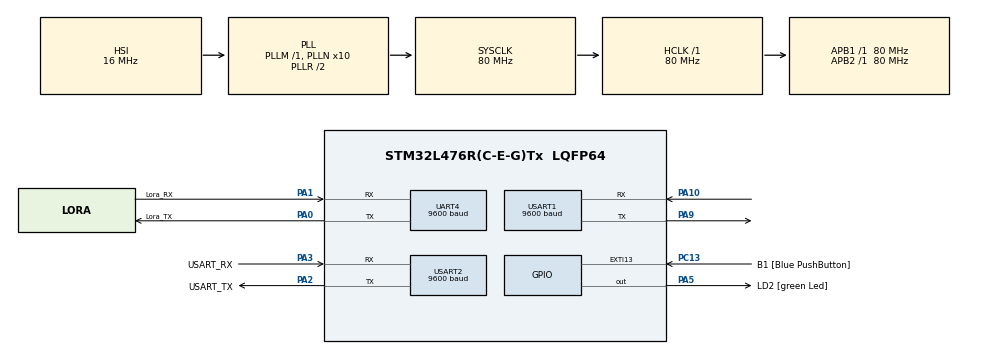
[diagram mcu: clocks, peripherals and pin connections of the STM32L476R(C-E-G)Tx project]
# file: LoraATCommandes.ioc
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Dma.Request0=USART2_RX
Dma.Request1=UART4_RX
Dma.Request2=USART1_RX
Dma.UART4_RX.1.Direction=DMA_PERIPH_TO_MEMORY
Dma.UART4_RX.1.Instance=DMA2_Channel5
Dma.UART4_RX.1.MemDataAlignment=DMA_MDATAALIGN_BYTE
Dma.UART4_RX.1.MemInc=DMA_MINC_ENABLE
Dma.UART4_RX.1.Mode=DMA_NORMAL
Dma.UART4_RX.1.PeriphDataAlignment=DMA_PDATAALIGN_BYTE
Dma.UART4_RX.1.PeriphInc=DMA_PINC_DISABLE
Dma.UART4_RX.1.Priority=DMA_PRIORITY_LOW
Dma.USART1_RX.2.Direction=DMA_PERIPH_TO_MEMORY
Dma.USART1_RX.2.Instance=DMA1_Channel5
Dma.USART1_RX.2.MemDataAlignment=DMA_MDATAALIGN_BYTE
Dma.USART1_RX.2.MemInc=DMA_MINC_ENABLE
Dma.USART1_RX.2.Mode=DMA_NORMAL
Dma.USART1_RX.2.PeriphDataAlignment=DMA_PDATAALIGN_BYTE
Dma.USART1_RX.2.PeriphInc=DMA_PINC_DISABLE
Dma.USART1_RX.2.Priority=DMA_PRIORITY_LOW
Dma.USART2_RX.0.Direction=DMA_PERIPH_TO_MEMORY
Dma.USART2_RX.0.Instance=DMA1_Channel6
Dma.USART2_RX.0.MemDataAlignment=DMA_MDATAALIGN_BYTE
Dma.USART2_RX.0.MemInc=DMA_MINC_ENABLE
Dma.USART2_RX.0.Mode=DMA_NORMAL
Dma.USART2_RX.0.PeriphDataAlignment=DMA_PDATAALIGN_BYTE
Dma.USART2_RX.0.PeriphInc=DMA_PINC_DISABLE
Dma.USART2_RX.0.Priority=DMA_PRIORITY_LOW
Mcu.Family=STM32L4
Mcu.Name=STM32L476R(C-E-G)Tx
Mcu.Package=LQFP64
NVIC.DMA1_Channel5_IRQn=true\:0\:0\:false\:false\:true\:false\:true\:true
NVIC.DMA1_Channel6_IRQn=true\:0\:0\:false\:false\:true\:false\:true\:true
NVIC.DMA2_Channel5_IRQn=true\:0\:0\:false\:false\:true\:false\:true\:true
NVIC.PriorityGroup=NVIC_PRIORITYGROUP_4
NVIC.UART4_IRQn=true\:0\:0\:false\:false\:true\:true\:true\:true
NVIC.USART1_IRQn=true\:0\:0\:false\:false\:true\:true\:true\:true
NVIC.USART2_IRQn=true\:0\:0\:false\:false\:true\:true\:true\:true
PA0.GPIO_Label=Lora_TX
PA0.Mode=Asynchronous
PA0.Signal=UART4_TX
PA1.GPIO_Label=Lora_RX
PA1.Mode=Asynchronous
PA1.Signal=UART4_RX
PA10.Mode=Asynchronous
PA10.Signal=USART1_RX
PA13\ (JTMS-SWDIO).GPIO_Label=TMS
PA13\ (JTMS-SWDIO).Mode=Serial_Wire
PA13\ (JTMS-SWDIO).Signal=SYS_JTMS-SWDIO
PA14\ (JTCK-SWCLK).GPIO_Label=TCK
PA14\ (JTCK-SWCLK).Mode=Serial_Wire
PA14\ (JTCK-SWCLK).Signal=SYS_JTCK-SWCLK
PA2.GPIO_Label=USART_TX
PA2.GPIO_Mode=GPIO_MODE_AF_PP
PA2.GPIO_PuPd=GPIO_NOPULL
PA2.GPIO_Speed=GPIO_SPEED_FREQ_VERY_HIGH
PA2.Mode=Asynchronous
PA2.Signal=USART2_TX
PA3.GPIO_Label=USART_RX
PA3.GPIO_Mode=GPIO_MODE_AF_PP
PA3.GPIO_PuPd=GPIO_NOPULL
PA3.GPIO_Speed=GPIO_SPEED_FREQ_VERY_HIGH
PA3.Mode=Asynchronous
PA3.Signal=USART2_RX
PA5.GPIO_Label=LD2 [green Led]
PA5.GPIO_ModeDefaultOutputPP=GPIO_MODE_OUTPUT_PP
PA5.GPIO_PuPd=GPIO_NOPULL
PA5.GPIO_Speed=GPIO_SPEED_FREQ_LOW
PA5.Signal=GPIO_Output
PA9.Mode=Asynchronous
PA9.Signal=USART1_TX
PB3\ (JTDO-TRACESWO).GPIO_Label=SWO
PB3\ (JTDO-TRACESWO).Signal=SYS_JTDO-SWO
PC13.GPIO_Label=B1 [Blue PushButton]
PC13.GPIO_ModeDefaultEXTI=GPIO_MODE_IT_FALLING
PC13.GPIO_PuPd=GPIO_NOPULL
PC13.Signal=GPXTI13
PC14-OSC32_IN\ (PC14).Mode=LSE-External-Oscillator
PC14-OSC32_IN\ (PC14).Signal=RCC_OSC32_IN
PC15-OSC32_OUT\ (PC15).Mode=LSE-External-Oscillator
PC15-OSC32_OUT\ (PC15).Signal=RCC_OSC32_OUT
PH0-OSC_IN\ (PH0).Signal=RCC_OSC_IN
PH1-OSC_OUT\ (PH1).Signal=RCC_OSC_OUT
ProjectManager.HeapSize=0x200
ProjectManager.StackSize=0x400
ProjectManager.TargetToolchain=STM32CubeIDE
RCC.ADCFreq_Value=64000000
RCC.AHBFreq_Value=80000000
RCC.APB1Freq_Value=80000000
RCC.APB1TimFreq_Value=80000000
RCC.APB2Freq_Value=80000000
RCC.APB2TimFreq_Value=80000000
RCC.CortexFreq_Value=80000000
RCC.HCLKFreq_Value=80000000
RCC.HSE_VALUE=8000000
RCC.HSI_VALUE=16000000
RCC.MSI_VALUE=4000000
RCC.PLLN=10
RCC.PLLSourceVirtual=RCC_PLLSOURCE_HSI
RCC.PREFETCH_ENABLE=1
RCC.SYSCLKFreq_VALUE=80000000
RCC.SYSCLKSource=RCC_SYSCLKSOURCE_PLLCLK
RCC.USBFreq_Value=64000000
RCC.VCOOutputFreq_Value=160000000
UART4.BaudRate=9600
UART4.SwapParam=UART_ADVFEATURE_SWAP_ENABLE
USART1.BaudRate=9600
USART1.VirtualMode-Asynchronous=VM_ASYNC
USART2.BaudRate=9600
USART2.VirtualMode-Asynchronous=VM_ASYNC
board=NUCLEO-L476RG

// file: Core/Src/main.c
/* USER CODE BEGIN Header */
/**
  ******************************************************************************
  * @file           : main.c
  * @brief          : Main program body
  ******************************************************************************
  * @attention
  *
  * Copyright (c) 2024 STMicroelectronics.
  * All rights reserved.
  *
  * This software is licensed under terms that can be found in the LICENSE file
  * in the root directory of this software component.
  * If no LICENSE file comes with this software, it is provided AS-IS.
  *
  ******************************************************************************
  */
/* USER CODE END Header */
#include "main.h"

/* USER CODE BEGIN Includes */
#include <string.h>
/* USER CODE END Includes */

UART_HandleTypeDef huart4;
UART_HandleTypeDef huart1;
UART_HandleTypeDef huart2;
DMA_HandleTypeDef hdma_uart4_rx;
DMA_HandleTypeDef hdma_usart1_rx;
DMA_HandleTypeDef hdma_usart2_rx;

/* USER CODE BEGIN PV */

char reception[100]={0};
char reception_lora[100]={0};
char commande[100]="AT+MODE=TEST\r\n";
char commande_bis[50]="AT+TEST=RFCFG,866,SF12,125,12,15,14,ON,OFF,OFF\r\n";
char commande_ter[50]="AT+TEST=RXLRPKT\r\n";

UART_HandleTypeDef *lora = &huart1;
UART_HandleTypeDef *serial = &huart2;

/* USER CODE END PV */

void SystemClock_Config(void);
static void MX_GPIO_Init(void);
static void MX_DMA_Init(void);
static void MX_USART2_UART_Init(void);
static void MX_UART4_Init(void);
static void MX_USART1_UART_Init(void);

/* USER CODE BEGIN 0 */
#define RX_BUFF_SIZE 200
#define MAIN_BUFF_SIZE 200

uint8_t rcvbff[RX_BUFF_SIZE];
uint8_t mainbff[MAIN_BUFF_SIZE];

void HAL_UARTEx_RxEventCallback(UART_HandleTypeDef *huart, uint16_t Size)
{
	if(huart == serial)  //huart->Instance == USART2
	{
		memcpy(mainbff, rcvbff, Size);
		uint8_t tmpbff[strlen(rcvbff)+1];
					tmpbff[0]='>';
					memcpy(&tmpbff[1], rcvbff, strlen(rcvbff));

					HAL_UART_Transmit(serial,(uint8_t*)tmpbff,strlen(rcvbff)+1,10);

		HAL_UART_Transmit(lora,(uint8_t*)rcvbff,strlen(rcvbff),10);

		for(int i=0; i<RX_BUFF_SIZE; i++)
			rcvbff[i] = 0x00;
		rcvbff[0] = '\0';

		HAL_UARTEx_ReceiveToIdle_DMA(serial, rcvbff, RX_BUFF_SIZE);
		__HAL_DMA_DISABLE_IT(&hdma_usart2_rx, DMA_IT_HT);
	}
	if(huart == lora)  //huart->Instance == USART2
		{
			memcpy(mainbff, rcvbff, Size);

			HAL_UART_Transmit(serial,(uint8_t*)rcvbff,strlen(rcvbff),10);

			if(strcmp(rcvbff, "+MSG: Done\r\n")==0)
				HAL_UART_Transmit(serial,(uint8_t*)"Valid data\n",11,10);

			for(int i=0; i<RX_BUFF_SIZE; i++)
				rcvbff[i] = 0x00;
			rcvbff[0] = '\0';

			HAL_UARTEx_ReceiveToIdle_DMA(lora, rcvbff, RX_BUFF_SIZE);
			__HAL_DMA_DISABLE_IT(&hdma_uart4_rx, DMA_IT_HT);
		}
}
/* USER CODE END 0 */

int main(void)
{

  /* MCU Configuration--------------------------------------------------------*/

  /* Reset of all peripherals, Initializes the Flash interface and the Systick. */
  HAL_Init();

  /* Configure the system clock */
  SystemClock_Config();

  /* Initialize all configured peripherals */
  MX_GPIO_Init();
  MX_DMA_Init();
  MX_USART2_UART_Init();
  MX_UART4_Init();
  MX_USART1_UART_Init();
  /* USER CODE BEGIN 2 */

  //HAL_UART_Receive_IT(&huart2,(uint8_t *) rcvbff, sizeof(rcvbff));
  //HAL_UART_Receive_DMA (&huart2, rcvbff, 150);
  HAL_UART_Transmit(serial, (uint8_t *)"UART2 INIT\n" , 11, 10);

  char automode[55] = {0xFF,0xFF};
   strcpy(&automode[2],"AT+LOWPOWER=AUTOOFF\n\f");
  //HAL_UART_Transmit(lora, (uint8_t *)automode , strlen(automode), 60);
  char message[55] = "rcv\n";
  //uint8_t premessage[55] = "AT+MSG\r\n";

  HAL_GPIO_WritePin(LD2_GPIO_Port, LD2_Pin, SET);
  HAL_Delay(100);
  HAL_GPIO_TogglePin(LD2_GPIO_Port, LD2_Pin);
/*
  HAL_UART_Transmit(&huart4,message , 7, 10);
  HAL_Delay(1000);

  uint8_t message2[55] = "AT+MSG\r\n";
  HAL_UART_Transmit(&huart4,message2 , 7, 10);
  HAL_Delay(1000);*/
  //HAL_UART_Receive_DMA (serial, (uint8_t*)reception, 100);
  //HAL_UART_Receive_IT(&huart2, rcvbff, 150);

  HAL_UARTEx_ReceiveToIdle_DMA(serial, rcvbff, RX_BUFF_SIZE);
  __HAL_DMA_DISABLE_IT(&hdma_usart2_rx, DMA_IT_HT);

  HAL_UARTEx_ReceiveToIdle_DMA(lora, rcvbff, RX_BUFF_SIZE);
  __HAL_DMA_DISABLE_IT(&hdma_uart4_rx, DMA_IT_HT);
  /* USER CODE END 2 */

  /* Infinite loop */
  while (1)
  {

    /* USER CODE BEGIN 3 */

	  /*if(__HAL_UART_GET_FLAG(lora,UART_FLAG_RXNE)==SET)
	  {
		  //HAL_UART_DMAStop(serial);
		  for(int i=0; i<10; i++)
		  {

			  HAL_GPIO_WritePin(LD2_GPIO_Port, LD2_Pin, SET);
			  HAL_Delay(10);
			  HAL_GPIO_WritePin(LD2_GPIO_Port, LD2_Pin, RESET);
			  HAL_Delay(10);
		  }
		  HAL_UART_Receive_DMA(lora, (uint8_t*)reception_lora, 100);
	  			HAL_UART_DMAStop(lora);

	  			HAL_UART_Transmit(serial,(uint8_t*)reception_lora,strlen(reception_lora),500);

	  			HAL_UART_Receive_DMA(lora, (uint8_t*)reception_lora, 100);
	  			if(strcmp(reception_lora, "AA\n")==0)
	  				  HAL_UART_Transmit(serial,(uint8_t*)message,4,1000);
	  			for(int i=0; i<150; i++)
	  				reception_lora[i] = 0x00;
	  			reception_lora[0] = '\0';
	  		  HAL_GPIO_TogglePin(LD2_GPIO_Port, LD2_Pin);*/
	  //}

	  /*if(__HAL_UART_GET_FLAG(serial,UART_FLAG_RXNE)==SET){
		  HAL_Delay(200);
		  HAL_UART_DMAStop(serial);
		  reception[strlen(reception)-1] = '\r';
		  reception[strlen(reception)] = '\n';

//		  strcat(reception, "\r\n");
		  HAL_UART_Transmit(lora,(uint8_t*) reception,strlen(reception),500);

		  HAL_UART_Transmit(serial,(uint8_t*)reception,strlen(reception),500);
			HAL_GPIO_TogglePin(LD2_GPIO_Port, LD2_Pin);
			//HAL_Delay(100);
			HAL_GPIO_TogglePin(LD2_GPIO_Port, LD2_Pin);

			for(int i=0; i<150; i++)
				reception[i] = 0x00;
			reception[0] = '\0';

			HAL_UART_Receive_DMA(serial, (uint8_t*)reception, 100);
	  }*/

  }
  /* USER CODE END 3 */
}

void SystemClock_Config(void)
{
  RCC_OscInitTypeDef RCC_OscInitStruct = {0};
  RCC_ClkInitTypeDef RCC_ClkInitStruct = {0};

  /** Configure the main internal regulator output voltage
  */
  if (HAL_PWREx_ControlVoltageScaling(PWR_REGULATOR_VOLTAGE_SCALE1) != HAL_OK)
  {
    Error_Handler();
  }

  /** Initializes the RCC Oscillators according to the specified parameters
  * in the RCC_OscInitTypeDef structure.
  */
  RCC_OscInitStruct.OscillatorType = RCC_OSCILLATORTYPE_HSI;
  RCC_OscInitStruct.HSIState = RCC_HSI_ON;
  RCC_OscInitStruct.HSICalibrationValue = RCC_HSICALIBRATION_DEFAULT;
  RCC_OscInitStruct.PLL.PLLState = RCC_PLL_ON;
  RCC_OscInitStruct.PLL.PLLSource = RCC_PLLSOURCE_HSI;
  RCC_OscInitStruct.PLL.PLLM = 1;
  RCC_OscInitStruct.PLL.PLLN = 10;
  RCC_OscInitStruct.PLL.PLLP = RCC_PLLP_DIV7;
  RCC_OscInitStruct.PLL.PLLQ = RCC_PLLQ_DIV2;
  RCC_OscInitStruct.PLL.PLLR = RCC_PLLR_DIV2;
  if (HAL_RCC_OscConfig(&RCC_OscInitStruct) != HAL_OK)
  {
    Error_Handler();
  }

  /** Initializes the CPU, AHB and APB buses clocks
  */
  RCC_ClkInitStruct.ClockType = RCC_CLOCKTYPE_HCLK|RCC_CLOCKTYPE_SYSCLK
                              |RCC_CLOCKTYPE_PCLK1|RCC_CLOCKTYPE_PCLK2;
  RCC_ClkInitStruct.SYSCLKSource = RCC_SYSCLKSOURCE_PLLCLK;
  RCC_ClkInitStruct.AHBCLKDivider = RCC_SYSCLK_DIV1;
  RCC_ClkInitStruct.APB1CLKDivider = RCC_HCLK_DIV1;
  RCC_ClkInitStruct.APB2CLKDivider = RCC_HCLK_DIV1;

  if (HAL_RCC_ClockConfig(&RCC_ClkInitStruct, FLASH_LATENCY_4) != HAL_OK)
  {
    Error_Handler();
  }
}

static void MX_UART4_Init(void)
{

  huart4.Instance = UART4;
  huart4.Init.BaudRate = 9600;
  huart4.Init.WordLength = UART_WORDLENGTH_8B;
  huart4.Init.StopBits = UART_STOPBITS_1;
  huart4.Init.Parity = UART_PARITY_NONE;
  huart4.Init.Mode = UART_MODE_TX_RX;
  huart4.Init.HwFlowCtl = UART_HWCONTROL_NONE;
  huart4.Init.OverSampling = UART_OVERSAMPLING_16;
  huart4.Init.OneBitSampling = UART_ONE_BIT_SAMPLE_DISABLE;
  huart4.AdvancedInit.AdvFeatureInit = UART_ADVFEATURE_SWAP_INIT;
  huart4.AdvancedInit.Swap = UART_ADVFEATURE_SWAP_ENABLE;
  if (HAL_UART_Init(&huart4) != HAL_OK)
  {
    Error_Handler();
  }

}

static void MX_USART1_UART_Init(void)
{

  huart1.Instance = USART1;
  huart1.Init.BaudRate = 9600;
  huart1.Init.WordLength = UART_WORDLENGTH_8B;
  huart1.Init.StopBits = UART_STOPBITS_1;
  huart1.Init.Parity = UART_PARITY_NONE;
  huart1.Init.Mode = UART_MODE_TX_RX;
  huart1.Init.HwFlowCtl = UART_HWCONTROL_NONE;
  huart1.Init.OverSampling = UART_OVERSAMPLING_16;
  huart1.Init.OneBitSampling = UART_ONE_BIT_SAMPLE_DISABLE;
  huart1.AdvancedInit.AdvFeatureInit = UART_ADVFEATURE_NO_INIT;
  if (HAL_UART_Init(&huart1) != HAL_OK)
  {
    Error_Handler();
  }

}

static void MX_USART2_UART_Init(void)
{

  huart2.Instance = USART2;
  huart2.Init.BaudRate = 9600;
  huart2.Init.WordLength = UART_WORDLENGTH_8B;
  huart2.Init.StopBits = UART_STOPBITS_1;
  huart2.Init.Parity = UART_PARITY_NONE;
  huart2.Init.Mode = UART_MODE_TX_RX;
  huart2.Init.HwFlowCtl = UART_HWCONTROL_NONE;
  huart2.Init.OverSampling = UART_OVERSAMPLING_16;
  huart2.Init.OneBitSampling = UART_ONE_BIT_SAMPLE_DISABLE;
  huart2.AdvancedInit.AdvFeatureInit = UART_ADVFEATURE_NO_INIT;
  if (HAL_UART_Init(&huart2) != HAL_OK)
  {
    Error_Handler();
  }

}

static void MX_DMA_Init(void)
{

  /* DMA controller clock enable */
  __HAL_RCC_DMA1_CLK_ENABLE();
  __HAL_RCC_DMA2_CLK_ENABLE();

  /* DMA interrupt init */
  /* DMA1_Channel5_IRQn interrupt configuration */
  HAL_NVIC_SetPriority(DMA1_Channel5_IRQn, 0, 0);
  HAL_NVIC_EnableIRQ(DMA1_Channel5_IRQn);
  /* DMA1_Channel6_IRQn interrupt configuration */
  HAL_NVIC_SetPriority(DMA1_Channel6_IRQn, 0, 0);
  HAL_NVIC_EnableIRQ(DMA1_Channel6_IRQn);
  /* DMA2_Channel5_IRQn interrupt configuration */
  HAL_NVIC_SetPriority(DMA2_Channel5_IRQn, 0, 0);
  HAL_NVIC_EnableIRQ(DMA2_Channel5_IRQn);

}

static void MX_GPIO_Init(void)
{
  GPIO_InitTypeDef GPIO_InitStruct = {0};

  /* GPIO Ports Clock Enable */
  __HAL_RCC_GPIOC_CLK_ENABLE();
  __HAL_RCC_GPIOH_CLK_ENABLE();
  __HAL_RCC_GPIOA_CLK_ENABLE();
  __HAL_RCC_GPIOB_CLK_ENABLE();

  /*Configure GPIO pin Output Level */
  HAL_GPIO_WritePin(LD2_GPIO_Port, LD2_Pin, GPIO_PIN_RESET);

  /*Configure GPIO pin : B1_Pin */
  GPIO_InitStruct.Pin = B1_Pin;
  GPIO_InitStruct.Mode = GPIO_MODE_IT_FALLING;
  GPIO_InitStruct.Pull = GPIO_NOPULL;
  HAL_GPIO_Init(B1_GPIO_Port, &GPIO_InitStruct);

  /*Configure GPIO pin : LD2_Pin */
  GPIO_InitStruct.Pin = LD2_Pin;
  GPIO_InitStruct.Mode = GPIO_MODE_OUTPUT_PP;
  GPIO_InitStruct.Pull = GPIO_NOPULL;
  GPIO_InitStruct.Speed = GPIO_SPEED_FREQ_LOW;
  HAL_GPIO_Init(LD2_GPIO_Port, &GPIO_InitStruct);

}

void Error_Handler(void)
{
  __disable_irq();
  while (1)
  {
  }
}
